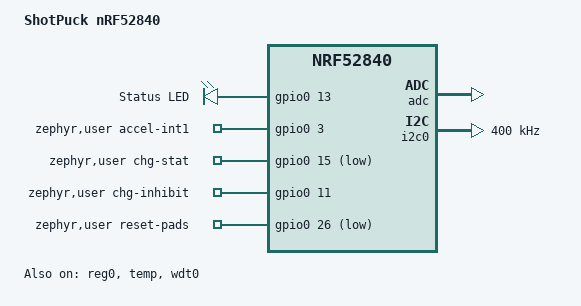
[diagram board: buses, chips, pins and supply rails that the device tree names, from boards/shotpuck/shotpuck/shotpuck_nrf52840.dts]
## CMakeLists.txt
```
# ShotPuck firmware - Zephyr 4.1 (also builds in nRF Connect SDK v3.0+)
cmake_minimum_required(VERSION 3.20.0)
list(APPEND BOARD_ROOT ${CMAKE_CURRENT_SOURCE_DIR})
find_package(Zephyr REQUIRED HINTS $ENV{ZEPHYR_BASE})
project(shotpuck)

target_sources(app PRIVATE
  src/main.c
  src/shot_detect.c
  src/accel.c
  src/capture.c
  src/capture_tx.c
  src/capaim.c
  src/capcodec.c
  src/capdec.c
  src/capflash.c
  src/capjoin.c
  src/capstore.c
  src/capstore_layout.c
  src/capstore_scan.c
  src/capwriter.c
  src/charge.c
  src/chg_led.c
  src/crc32.c
  src/devrec.c
  src/devstream.c
  src/evlog.c
  src/factory.c
  src/event_tx.c
  src/evq.c
  src/claim.c
  src/diag.c
  src/identity.c
  src/led.c
  src/led_seq.c
  src/lifecount.c
  src/lifetime.c
  src/ota.c
  src/power.c
  src/recovery.c
  src/store.c
  src/supply.c
  src/ble.c
  src/wakestat.c
  src/wire.c
  src/zerorate.c
)

zephyr_linker_sources(SECTIONS ram_limit.ld)
```

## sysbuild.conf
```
SB_CONFIG_BOOTLOADER_MCUBOOT=y
SB_CONFIG_MCUBOOT_MODE_SWAP_USING_MOVE=y
SB_CONFIG_BOOT_SIGNATURE_TYPE_ECDSA_P256=y
```

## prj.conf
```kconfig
# ---- core
CONFIG_FPU=y
CONFIG_MAIN_STACK_SIZE=3072
CONFIG_SYSTEM_WORKQUEUE_STACK_SIZE=2048
CONFIG_GPIO=y
CONFIG_I2C=y
CONFIG_ADC=y
CONFIG_SENSOR=y
CONFIG_POWEROFF=y
CONFIG_LTO=y
CONFIG_ISR_TABLES_LOCAL_DECLARATION=y
CONFIG_CBPRINTF_FP_SUPPORT=n
CONFIG_PICOLIBC_IO_LONG_LONG=y

# ---- storage (lifetime count, thresholds)
CONFIG_FLASH=y
CONFIG_FLASH_MAP=y
CONFIG_NVS=y
CONFIG_SETTINGS=y
CONFIG_SETTINGS_NVS=y
CONFIG_NVS_LOOKUP_CACHE=y
CONFIG_NVS_LOOKUP_CACHE_SIZE=512

# ---- fixed heap (only the AES and CMAC contexts, 316 bytes per operation), so the RAM above the image can be switched off
CONFIG_COMMON_LIBC_MALLOC_ARENA_SIZE=4096

# ---- code nothing uses: time slicing, the HCI entropy device, AES-CBC
CONFIG_TIMESLICING=n
CONFIG_ENTROPY_BT_HCI=n
CONFIG_MBEDTLS_CIPHER_MODE_CBC_ENABLED=n

# ---- Bluetooth LE peripheral
CONFIG_BT=y
CONFIG_BT_PERIPHERAL=y
CONFIG_BT_DEVICE_NAME="ShotPuck"
CONFIG_BT_MAX_CONN=1
CONFIG_BT_BAS=y
CONFIG_BT_GATT_CLIENT=y
CONFIG_BT_L2CAP_TX_MTU=247
CONFIG_BT_BUF_ACL_RX_SIZE=251
CONFIG_BT_BUF_ACL_TX_SIZE=251
CONFIG_BT_ATT_TX_COUNT=8
CONFIG_BT_CTLR_DATA_LENGTH_MAX=251
CONFIG_BT_CTLR_TX_PWR_PLUS_8=y
CONFIG_BT_GAP_AUTO_UPDATE_CONN_PARAMS=y
CONFIG_BT_GAP_PERIPHERAL_PREF_PARAMS=n
CONFIG_BT_DEVICE_NAME_DYNAMIC=y
CONFIG_BT_CTLR_PRIVACY=n
CONFIG_BT_CTLR_FILTER_ACCEPT_LIST=n
CONFIG_BT_CTLR_LE_PING=n
CONFIG_BT_CTLR_PER_INIT_FEAT_XCHG=n
CONFIG_BT_CTLR_MIN_USED_CHAN=n
CONFIG_BT_CTLR_ADVANCED_FEATURES=y
CONFIG_BT_CTLR_ASSERT_OVERHEAD_START=n

# ---- pairing: LE Secure Connections, new bonds only while the charger is attached
CONFIG_BT_SMP=y
CONFIG_BT_SETTINGS=y
CONFIG_BT_SMP_APP_PAIRING_ACCEPT=y
CONFIG_BT_MAX_PAIRED=4
CONFIG_BT_KEYS_OVERWRITE_OLDEST=y
CONFIG_BT_SMP_ALLOW_UNAUTH_OVERWRITE=y

# ---- identity: Device Information Service with the chip's unique ID
CONFIG_HWINFO=y
CONFIG_INIT_STACKS=y
CONFIG_SETTINGS_RUNTIME=y
CONFIG_BT_DIS=y
CONFIG_BT_DIS_SETTINGS=y
CONFIG_BT_DIS_SERIAL_NUMBER=y
CONFIG_BT_DIS_MODEL_NUMBER_STR="ShotPuck"
CONFIG_BT_DIS_MANUF_NAME=n
CONFIG_BT_DIS_PNP=n
CONFIG_BT_DIS_FW_REV=y

# ---- OTA: MCUboot (sysbuild) + MCUmgr SMP over BLE, paired phones only
CONFIG_MCUMGR=y
CONFIG_ZCBOR=y
CONFIG_NET_BUF=y
CONFIG_STREAM_FLASH=y
CONFIG_IMG_MANAGER=y
CONFIG_IMG_ERASE_PROGRESSIVELY=y
CONFIG_MCUMGR_GRP_IMG=y
CONFIG_MCUMGR_GRP_OS=y
CONFIG_MCUMGR_GRP_OS_ECHO=n
CONFIG_MCUMGR_GRP_OS_MCUMGR_PARAMS=y
CONFIG_MCUMGR_MGMT_NOTIFICATION_HOOKS=y
CONFIG_MCUMGR_GRP_IMG_UPLOAD_CHECK_HOOK=y
CONFIG_MCUMGR_TRANSPORT_BT=y
CONFIG_MCUMGR_TRANSPORT_BT_PERM_RW_ENCRYPT=y
CONFIG_MCUMGR_TRANSPORT_BT_REASSEMBLY=y

# ---- watchdog: a hung image resets, and MCUboot reverts an unconfirmed one
CONFIG_WATCHDOG=y

# ---- low power release build: no UART, no logging
CONFIG_SERIAL=n
CONFIG_CONSOLE=n
CONFIG_UART_CONSOLE=n
CONFIG_LOG=n
CONFIG_PRINTK=n
CONFIG_BOOT_BANNER=n
```

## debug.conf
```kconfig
# Debug overlay: west build ... -- -DEXTRA_CONF_FILE=debug.conf
# Logs over SEGGER RTT via the SWD (Tag-Connect) header.
# Upstream Zephyr: `west config manifest.project-filter -- +segger` and
# `west update` first. nRF Connect SDK includes it already.
CONFIG_LOG=y
CONFIG_USE_SEGGER_RTT=y
CONFIG_LOG_BACKEND_RTT=y
CONFIG_LOG_BACKEND_UART=n
```

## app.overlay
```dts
&reg1 {
	regulator-initial-mode = <NRF5X_REG_MODE_DCDC>;
};

&gpio1 {
	status = "disabled";
};

&boot_partition {
	reg = <0x00000000 0x0000A000>;
};

&flash0 {
	partitions {
		lifetime_partition: partition@a000 {
			label = "lifetime";
			reg = <0x0000A000 0x00002000>;
		};
	};
};
```

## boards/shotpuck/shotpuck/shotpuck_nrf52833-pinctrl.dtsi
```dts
/* ShotPuck pin control. Pins chosen from the MDBT50Q bottom pad row. */
&pinctrl {
	i2c0_default: i2c0_default {
		group1 {
			psels = <NRF_PSEL(TWIM_SCL, 0, 4)>,
				<NRF_PSEL(TWIM_SDA, 0, 6)>;
			bias-pull-up;   /* internal pull-ups; external 4.7k DNP pads on PCB */
		};
	};
	i2c0_sleep: i2c0_sleep {
		group1 {
			psels = <NRF_PSEL(TWIM_SCL, 0, 4)>,
				<NRF_PSEL(TWIM_SDA, 0, 6)>;
			low-power-enable;
		};
	};
};
```

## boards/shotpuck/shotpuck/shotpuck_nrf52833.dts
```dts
/*
 * ShotPuck - nRF52833 (Raytac MDBT50Q-512K), VDDH = Li-ion cell.
 *
 * Pin map (MDBT50Q pad -> signal):
 *   P0.04 (20) I2C SCL      -> LSM6DSO32 SCL
 *   P0.06 (22) I2C SDA      -> LSM6DSO32 SDA
 *   P0.08 (24) ACCEL_INT1   <- LSM6DSO32 INT1
 *   P1.09 (26) CHG_STAT     <- MCP73831 STAT via BAT54 (low = charging)
 *   P0.27 (16) CHG_INHIBIT  -> Q2 gate (high = charging disabled)
 *   P0.13 (37) LED          -> LED anode via 1k (active high)
 *   VBUS  (32)              <- charger input after reverse-polarity diode
 */
/dts-v1/;
#include <nordic/nrf52833_qiaa.dtsi>
#include "shotpuck_nrf52833-pinctrl.dtsi"

/ {
	model = "ShotPuck nRF52833";
	compatible = "shotpuck,shotpuck-nrf52833";

	chosen {
		zephyr,sram = &sram0;
		zephyr,flash = &flash0;
		zephyr,code-partition = &slot0_partition;
		zephyr,settings-partition = &storage_partition;
	};

	leds {
		compatible = "gpio-leds";
		led0: led_0 {
			gpios = <&gpio0 13 GPIO_ACTIVE_HIGH>;
			label = "Status LED";
		};
	};

	zephyr,user {
		accel-int1-gpios = <&gpio0 8 GPIO_ACTIVE_HIGH>;
		chg-stat-gpios = <&gpio1 9 GPIO_ACTIVE_LOW>;
		chg-inhibit-gpios = <&gpio0 27 GPIO_ACTIVE_HIGH>;
	};

	aliases {
		led0 = &led0;
		watchdog0 = &wdt0;
	};
};

/* No DC/DC inductors assumed: REG0 and REG1 in LDO mode (works on every
 * module variant; see README "decisions" to enable DC/DC). */
&reg0 {
	status = "okay";
};

&reg1 {
	regulator-initial-mode = <NRF5X_REG_MODE_LDO>;
};

&adc {
	status = "okay";
};

&temp {
	status = "okay";
};

&gpiote {
	status = "okay";
};

&gpio0 {
	status = "okay";
};

&gpio1 {
	status = "okay";
};

&i2c0 {
	compatible = "nordic,nrf-twim";
	status = "okay";
	clock-frequency = <I2C_BITRATE_FAST>;
	pinctrl-0 = <&i2c0_default>;
	pinctrl-1 = <&i2c0_sleep>;
	pinctrl-names = "default", "sleep";
};

&flash0 {
	partitions {
		compatible = "fixed-partitions";
		#address-cells = <1>;
		#size-cells = <1>;

		boot_partition: partition@0 {
			label = "mcuboot";
			reg = <0x00000000 0xC000>;
		};
		slot0_partition: partition@c000 {
			label = "image-0";
			reg = <0x0000C000 0x37000>;
		};
		slot1_partition: partition@43000 {
			label = "image-1";
			reg = <0x00043000 0x2F000>;
		};
		eventlog_partition: partition@72000 {
			label = "eventlog";
			reg = <0x00072000 0x00008000>;
		};
		storage_partition: partition@7a000 {
			label = "storage";
			reg = <0x0007A000 0x00006000>;
		};
	};
};
```

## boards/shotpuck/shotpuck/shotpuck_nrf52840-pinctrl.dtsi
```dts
/* ShotPuck pin control. I2C on the BMD-340's left pad column, next to the IMU. */
&pinctrl {
	i2c0_default: i2c0_default {
		group1 {
			psels = <NRF_PSEL(TWIM_SCL, 0, 7)>,
				<NRF_PSEL(TWIM_SDA, 0, 5)>;
			bias-pull-up;   /* internal pull-ups */
		};
	};
	i2c0_sleep: i2c0_sleep {
		group1 {
			psels = <NRF_PSEL(TWIM_SCL, 0, 7)>,
				<NRF_PSEL(TWIM_SDA, 0, 5)>;
			low-power-enable;
		};
	};
};
```

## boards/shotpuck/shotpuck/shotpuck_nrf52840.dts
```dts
/*
 * ShotPuck - nRF52840 (u-blox BMD-340), VCCH = Li-ion cell.
 *
 * Pin map (BMD-340 pad -> signal):
 *   P0.05 (21) I2C SDA      -> LSM6DSV32X SDA
 *   P0.07 (23) I2C SCL      -> LSM6DSV32X SCL
 *   P0.03 (19) ACCEL_INT1   <- LSM6DSV32X INT1
 *   P0.15 (33) CHG_STAT     <- MCP73831 STAT via BAT54J (low = charging)
 *   P0.11 (27) CHG_INHIBIT  -> Q1B gate (high = charging disabled)
 *   P0.13 (31) LED          -> LED anode via 1k (active high)
 *   VBUS  (66)              <- charger input after reverse-polarity diode, 1k/100n filter
 */
/dts-v1/;
#include <nordic/nrf52840_qiaa.dtsi>
#include "shotpuck_nrf52840-pinctrl.dtsi"

/ {
	model = "ShotPuck nRF52840";
	compatible = "shotpuck,shotpuck-nrf52840";

	chosen {
		zephyr,sram = &sram0;
		zephyr,flash = &flash0;
		zephyr,code-partition = &slot0_partition;
		zephyr,settings-partition = &storage_partition;
	};

	leds {
		compatible = "gpio-leds";
		led0: led_0 {
			gpios = <&gpio0 13 GPIO_ACTIVE_HIGH>;
			label = "Status LED";
		};
	};

	zephyr,user {
		accel-int1-gpios = <&gpio0 3 GPIO_ACTIVE_HIGH>;
		chg-stat-gpios = <&gpio0 15 GPIO_ACTIVE_LOW>;
		chg-inhibit-gpios = <&gpio0 11 GPIO_ACTIVE_HIGH>;
		reset-pads-gpios = <&gpio0 26 (GPIO_PULL_UP | GPIO_ACTIVE_LOW)>;
	};

	aliases {
		led0 = &led0;
		watchdog0 = &wdt0;
	};
};

/* No DC/DC inductors assumed: REG0 and REG1 in LDO mode (works on every
 * module variant; see README "decisions" to enable DC/DC). */
&reg0 {
	status = "okay";
};

&reg1 {
	regulator-initial-mode = <NRF5X_REG_MODE_LDO>;
};

&adc {
	status = "okay";
};

&temp {
	status = "okay";
};

&wdt0 {
	status = "okay";
};

&gpiote {
	status = "okay";
};

&gpio0 {
	status = "okay";
};

&gpio1 {
	status = "okay";
};

&i2c0 {
	compatible = "nordic,nrf-twim";
	status = "okay";
	clock-frequency = <I2C_BITRATE_FAST>;
	pinctrl-0 = <&i2c0_default>;
	pinctrl-1 = <&i2c0_sleep>;
	pinctrl-names = "default", "sleep";
};

&flash0 {
	partitions {
		compatible = "fixed-partitions";
		#address-cells = <1>;
		#size-cells = <1>;

		boot_partition: partition@0 {
			label = "mcuboot";
			reg = <0x00000000 0x0000C000>;
		};
		slot0_partition: partition@c000 {
			label = "image-0";
			reg = <0x0000C000 0x00040000>;
		};
		slot1_partition: partition@4c000 {
			label = "image-1";
			reg = <0x0004C000 0x00040000>;
		};
		capture_partition: partition@8c000 {
			label = "captures";
			reg = <0x0008C000 0x00066000>;
		};
		eventlog_partition: partition@f2000 {
			label = "eventlog";
			reg = <0x000F2000 0x00008000>;
		};
		storage_partition: partition@fa000 {
			label = "storage";
			reg = <0x000FA000 0x00006000>;
		};
	};
};
```

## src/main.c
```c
/*
 * main.c - ShotPuck application.
 *
 * Event loop on one thread; all I2C and flash work happens here. ISRs and
 * BT callbacks only set flags / queue messages and give wake_sem.
 *
 *   IDLE   : LSM6DSV32X accelerometer at 15 Hz with wake interrupt, gyro
 *            off, CPU asleep. Advertising stops ADV_LINGER_MS after IDLE,
 *            or on unplugging USB if that comes later.
 *   ACTIVE : 480 Hz accel + gyro FIFO -> shot_detect.c and the capture
 *            ring; advertising / connected. Back to IDLE after
 *            cfg.idle_timeout_ms of stillness.
 */
#include <app_version.h>
#include <string.h>
#include <zephyr/kernel.h>
#include <zephyr/logging/log.h>
#include <zephyr/sys/atomic.h>
#include <zephyr/sys/byteorder.h>

#include "accel.h"
#include "ble.h"
#include "capflash.h"
#include "capture.h"
#include "capture_tx.h"
#include "capwriter.h"
#include "chg_led.h"
#include "claim.h"
#include "devrec.h"
#include "devstream.h"
#include "diag.h"
#include "event_tx.h"
#include "factory.h"
#include "led.h"
#include "lifetime.h"
#include "ota.h"
#include "power.h"
#include "protocol.h"
#include "recovery.h"
#include "shot_detect.h"
#include "store.h"
#include "supply.h"
#include "wakestat.h"
#include "wire.h"
#include "zerorate.h"

LOG_MODULE_REGISTER(main, LOG_LEVEL_INF);

#define FW_MAJOR APP_VERSION_MAJOR
#define FW_MINOR APP_VERSION_MINOR
#define ADV_LINGER_MS 120000
#define HOUSEKEEP_ACTIVE_MS 10000
#define HOUSEKEEP_IDLE_MS 60000
#define FIFO_BATCH_SAMPLES 32
#define FIFO_WATERMARK_SAMPLES 26
#define FIFO_DRAIN_ROUNDS 4
#define CTRL_SEQ_MSG_LEN 5
#define CTRL_TIME_MSG_LEN 9
#define TX_POLL_MS 20
#define ACTIVE_POLL_MS 1000
#define IDLE_POLL_MS 2000
#define CLAIM_POLL_MS 250
#define CHARGER_POLL_MS 500
#define PAD_POLL_MS 250
#define CLAIM_BLINK_PERIOD_MS 1000
#define SENSOR_RETRY_MS 5000
#define SENSOR_STALL_MS 5000
#define NO_SENSOR_POLL_MS 1000
#define SLOW_IDLE_AFTER_MS (20u * 60u * 1000u)
#define MG_PER_G 1000u

static K_SEM_DEFINE(wake_sem, 0, 1);
static atomic_t accel_pending;
static atomic_t conn_event;

struct ctrl_msg {
	uint8_t len;
	uint8_t data[16];
};
K_MSGQ_DEFINE(ctrl_q, sizeof(struct ctrl_msg), 4, 4);
K_MSGQ_DEFINE(cfg_q, sizeof(sp_config_t), 1, 4);

static store_t st;
static cap_t cap;
static capstore_t capstore;
static capw_t capw;
static bool captures_ok;
static sd_state_t det;
static devrec_t rec;
static devstream_t live_stream;
static uint32_t reject_capture_min_mg;

static wire_clock_t wall_clock;

static uint32_t active_start_ms;
static uint32_t sample_idx;
static uint32_t idle_since_ms;
static bool idle_slow;
static wakestat_t wakes;
static zr_t zero_rate;
static uint32_t last_batch_ms;

/* ---------------------------------------------------------------- utils */

static void resume_seq(void)
{
	st.seq = seq_resume(st.seq, event_tx_newest_seq());
	store_save_counts(&st);
}

static void publish_count(void)
{
	sp_count_t c = {.total = st.total, .last_seq = st.seq, .lifetime = lifetime_count()};
	ble_update_count(&c);
}

static void publish_status(void)
{
	const power_state_t *p = power_state();
	sp_status_t s = {
		.battery_pct = p->battery_pct,
		.battery_mv = p->battery_mv,
		.temp_c = p->temp_c,
		.flags = (p->vbus ? SP_ST_VBUS : 0) | (p->charging ? SP_ST_CHARGING : 0) |
			 (p->chg_inhibit ? SP_ST_CHG_INHIBIT : 0) |
			 (det.mode == SD_MODE_ACTIVE ? SP_ST_ACTIVE : 0) |
			 (wall_clock.set ? SP_ST_TIME_SET : 0) | (supply_reg0_ldo() ? SP_ST_REG0_LDO : 0) |
			 (reject_capture_min_mg > 0u ? SP_ST_REJECT_CAPTURE : 0),
		.fw_major = FW_MAJOR,
		.fw_minor = FW_MINOR,
	};
	ble_update_status(&s);
	diag_publish(&st, &wakes);
}

/* ---------------------------------------------------------- callbacks */

static void accel_isr(void)
{
	atomic_set(&accel_pending, 1);
	k_sem_give(&wake_sem);
}

static int remote_reset_refusal(const uint8_t *data, uint16_t len)
{
	remote_reset_req_t r = {.data = data, .len = len, .vbus = power_vbus_present()};
	remote_reset_verdict_t verdict = remote_reset_check(&r);

	if (verdict == REMOTE_RESET_BAD_CODE) {
		return -EINVAL;
	}
	return verdict == REMOTE_RESET_NO_CHARGER ? -EPERM : 0;
}

static int on_ctrl(const uint8_t *data, uint16_t len)
{
	if (!devcmd_valid(&(devcmd_req_t){data, len})) {
		return -EINVAL;
	}
	if (data[0] == SP_CTRL_STREAM && data[1] > 0u && ble_stream_room() == 0u) {
		return -EPERM;
	}
	if (data[0] == SP_CTRL_FACTORY_RESET) {
		int refused = remote_reset_refusal(data, len);
		if (refused) {
			return refused;
		}
	}
	struct ctrl_msg m = {.len = (uint8_t)MIN(len, sizeof(m.data))};
	memcpy(m.data, data, m.len);
	int err = k_msgq_put(&ctrl_q, &m, K_NO_WAIT);

	if (err == 0) {
		k_sem_give(&wake_sem);
	}
	return err;
}

static int on_cfg(const sp_config_t *c)
{
	k_msgq_purge(&cfg_q);
	int err = k_msgq_put(&cfg_q, c, K_NO_WAIT);

	k_sem_give(&wake_sem);
	return err;
}

static void on_tx_done(void)
{
	k_sem_give(&wake_sem);
}

static void on_conn(bool connected)
{
	ARG_UNUSED(connected);
	atomic_set(&conn_event, 1);
	k_sem_give(&wake_sem);
}

/* -------------------------------------------------------------- modes */

static void begin_stream(uint32_t now)
{
	active_start_ms = now;
	sample_idx = 0;
	cap_reset(&cap);
	zr_restart(&zero_rate);
	sd_start_active(&det, now);
}

static void go_active(void)
{
	(void)supply_history_ram_on();
	accel_set_active();
	begin_stream(k_uptime_get_32());
	last_batch_ms = active_start_ms;
	ble_adv_start();
	LOG_INF("ACTIVE");
}

static void go_idle(void)
{
	accel_set_idle((uint16_t)st.cfg.wake_mg, ACCEL_IDLE_FAST);
	idle_slow = false;
	wakestat_sleep(&wakes);
	det.mode = SD_MODE_IDLE;
	if (!capw_busy(&capw)) {
		supply_history_ram_off();
	}
	idle_since_ms = k_uptime_get_32();
	store_save_counts(&st);
	LOG_INF("IDLE");
}

/* ------------------------------------------------------------- events */

static void request_capture(const sd_event_t *e, uint32_t seq)
{
	capw_request_t req = {
		.seq = seq,
		.trigger = cap_ms_to_index(e->t_ms - active_start_ms),
		.epoch = cap.epoch,
		.mode = st.capture_mode,
		.gyro_offset = zr_offset_at(&zero_rate, e->t_ms),
	};

	if (captures_ok) {
		capw_request(&capw, &req);
	}
}

static void capture_reject(const sd_event_t *e, uint32_t seq)
{
	if (reject_capture_min_mg > 0u && e->peak_hf_mg >= reject_capture_min_mg) {
		request_capture(e, seq);
	}
}

static void handle_detection(const sd_event_t *e, int64_t uptime_ms)
{
	sp_event_t w = {
		.seq = ++st.seq,
		.t_unix_ms = wire_clock_unix_ms(&wall_clock, uptime_ms),
		.t_uptime_ms = (uint32_t)uptime_ms,
		.peak_hf_mg = e->peak_hf_mg,
		.pre_still_ms = e->pre_still_ms,
		.post_lf_mg = e->post_lf_mg,
		.accepted = e->accepted,
		.reason = e->reason,
	};
	event_tx_record(&w);
	if (e->accepted) {
		st.total++;
		store_save_counts(&st);
		lifetime_shot();
		request_capture(e, w.seq);
		wakestat_shot(&wakes);
		led_play(LED_SHOT);
		LOG_INF("SHOT #%u pk=%u still=%u lf=%u ring=%u", st.total, e->peak_hf_mg,
			e->pre_still_ms, e->post_lf_mg, e->ring_mg);
	} else {
		capture_reject(e, w.seq);
		LOG_INF("reject r=%u pk=%u still=%u lf=%u ring=%u", e->reason, e->peak_hf_mg,
			e->pre_still_ms, e->post_lf_mg, e->ring_mg);
	}
	publish_count();
}

static uint32_t sample_ms(uint32_t index)
{
	return active_start_ms + cap_index_to_ms(index);
}

static void restart_stream(uint32_t now)
{
	LOG_WRN("FIFO overrun");
	begin_stream(now);
}

static void live_stream_sample(const sp_cap_sample_t *sample)
{
	if (!devstream_push(&live_stream, sample)) {
		return;
	}
	devstream_packet_t packet = devstream_take(&live_stream);

	if (!event_tx_busy() && !cap_tx_busy()) {
		(void)ble_send_stream(packet.data, packet.len);
	}
}

static void process_batch(const accel_fifo_t *fifo, uint32_t n)
{
	int64_t now = k_uptime_get();
	uint32_t t_last = sample_ms(sample_idx + n - 1u);

	for (uint32_t i = 0; i < n; i++) {
		int16_t mg[3];
		sd_event_t e;
		zr_input_t still = {&fifo->samples[i], sample_ms(sample_idx)};

		cap_push(&cap, &fifo->samples[i]);
		live_stream_sample(&fifo->samples[i]);
		zr_push(&zero_rate, &still);
		accel_to_mg(&fifo->samples[i], mg);
		if (sd_process(&det, mg, sample_ms(sample_idx++), &e)) {
			handle_detection(&e, now - (t_last - e.t_ms));
		}
	}
}

static void start_recording(uint8_t seconds)
{
	devrec_start(&rec, seconds);
	if (det.mode != SD_MODE_ACTIVE) {
		go_active();
	}
}

static void issue_recording(void)
{
	if (!devrec_due(&rec, sample_idx)) {
		return;
	}
	int64_t uptime_ms = k_uptime_get();
	sp_event_t w = {
		.seq = ++st.seq,
		.t_unix_ms = wire_clock_unix_ms(&wall_clock, uptime_ms),
		.t_uptime_ms = (uint32_t)uptime_ms,
		.reason = SP_EVENT_REASON_RECORDING,
	};
	devrec_at_t at = {w.seq, sample_idx, cap.epoch};
	capw_request_t req = devrec_take(&rec, &at);

	req.gyro_offset = zr_offset_at(&zero_rate, sample_ms(sample_idx));

	event_tx_record(&w);
	publish_count();
	if (captures_ok) {
		capw_request(&capw, &req);
	}
}

static void handle_accel(void)
{
	static sp_cap_sample_t buf[FIFO_BATCH_SAMPLES];
	accel_fifo_t fifo = {.samples = buf, .max = FIFO_BATCH_SAMPLES};

	if (accel_mode() == ACCEL_IDLE) {
		if (accel_clear_wake() > 0) {
			wakestat_wake(&wakes);
			go_active();
		} else {
			accel_irq_rearm();
		}
		return;
	}
	if (accel_mode() != ACCEL_ACTIVE) {
		return;
	}
	for (int round = 0; round < FIFO_DRAIN_ROUNDS; round++) {
		int n = accel_read_fifo(&fifo);
		if (n <= 0) {
			break;
		}
		if (fifo.overrun) {
			restart_stream(k_uptime_get_32());
		}
		process_batch(&fifo, (uint32_t)n);
		last_batch_ms = k_uptime_get_32();
		if (n < FIFO_WATERMARK_SAMPLES) {
			break;
		}
	}
	issue_recording();
	if (sd_active_should_sleep(&det, sample_ms(sample_idx)) && !devrec_running(&rec, &capw) &&
	    !devstream_on(&live_stream)) {
		go_idle();
	} else {
		accel_irq_rearm();
	}
}

static void reset_count(void)
{
	st.total = 0;
	st.count_reset_seq = st.seq;
	store_save_count_reset(&st);
	publish_count();
}

static void delete_shot(uint32_t seq)
{
	if (event_tx_delete(seq) != 1) {
		return;
	}
	LOG_INF("deleted shot seq %u", seq);
	lifetime_unshot(seq);
	if (seq > st.count_reset_seq && st.total > 0u) {
		st.total--;
		store_save_counts(&st);
	}
	publish_count();
}

static void start_live_stream(uint8_t divider)
{
	devstream_req_t req = {divider, devstream_fit(ble_stream_room()), k_uptime_get_32()};

	devstream_start(&live_stream, &req);
	if (devstream_on(&live_stream) && det.mode != SD_MODE_ACTIVE) {
		go_active();
	}
}

static void check_live_stream(void)
{
	if (ble_stream_room() == 0u || devstream_expired(&live_stream, k_uptime_get_32())) {
		devstream_stop(&live_stream);
	}
}

static void handle_dev_ctrl(const struct ctrl_msg *m)
{
	if (m->data[0] == SP_CTRL_REG0_MODE) {
		supply_reg0_set_ldo(m->data[1] == SP_REG0_LDO);
		publish_status();
	} else if (m->data[0] == SP_CTRL_RECORD) {
		start_recording(m->data[1]);
	} else if (m->data[0] == SP_CTRL_STREAM) {
		start_live_stream(m->data[1]);
	} else if (m->data[0] == SP_CTRL_REJECT_CAPTURE) {
		reject_capture_min_mg = m->data[1] * MG_PER_G;
		publish_status();
	}
}

static void handle_ctrl(void)
{
	struct ctrl_msg m;

	while (k_msgq_get(&ctrl_q, &m, K_NO_WAIT) == 0) {
		switch (m.data[0]) {
		case SP_CTRL_SET_TIME:
			if (m.len >= CTRL_TIME_MSG_LEN) {
				wire_time_t now = {
					.unix_ms = (int64_t)sys_get_le64(&m.data[1]),
					.uptime_ms = k_uptime_get(),
				};
				wire_clock_set(&wall_clock, &now);
				publish_status();
			}
			break;
		case SP_CTRL_RESET_COUNT:
			reset_count();
			break;
		case SP_CTRL_DELETE_SHOT:
			if (m.len >= CTRL_SEQ_MSG_LEN) {
				delete_shot(sys_get_le32(&m.data[1]));
			}
			break;
		case SP_CTRL_FACTORY_RESET:
			if (remote_reset_refusal(m.data, m.len) == 0) {
				factory_reset_remote();
			}
			break;
		case SP_CTRL_REPLAY:
			if (m.len >= CTRL_SEQ_MSG_LEN) {
				event_tx_replay(sys_get_le32(&m.data[1]));
			}
			break;
		case SP_CTRL_FACTORY_CFG: {
			sp_config_t w;
			sd_default_config(&st.cfg);
			det.cfg = st.cfg;
			store_save_cfg(&st);
			wire_config_out(&st, &w);
			ble_update_config(&w);
			break;
		}
		case SP_CTRL_GET_CAPTURE:
			if (m.len >= CTRL_SEQ_MSG_LEN) {
				cap_tx_queue(sys_get_le32(&m.data[1]));
			}
			break;
		case SP_CTRL_FORGET_BONDS:
			claim_forget_all();
			break;
		case SP_CTRL_LED_BLINK:
			led_play(LED_FIND);
			break;
		default:
			handle_dev_ctrl(&m);
			break;
		}
	}
}

static bool sensor_stuck(void)
{
	if (det.mode == SD_MODE_ACTIVE) {
		return k_uptime_get_32() - last_batch_ms >= SENSOR_STALL_MS;
	}
	return !accel_idle_ok();
}

static void check_sensor(void)
{
	if (!sensor_stuck()) {
		return;
	}
	LOG_WRN("IMU not responding: re-initialising");
	if (accel_init(accel_isr) != 0) {
		return;
	}
	if (det.mode == SD_MODE_ACTIVE) {
		go_active();
	} else {
		accel_set_idle((uint16_t)st.cfg.wake_mg, idle_slow ? ACCEL_IDLE_SLOW : ACCEL_IDLE_FAST);
	}
}

static void slow_down_idle(uint32_t now)
{
	if (det.mode != SD_MODE_IDLE || idle_slow || accel_mode() != ACCEL_IDLE ||
	    now - idle_since_ms < SLOW_IDLE_AFTER_MS) {
		return;
	}
	accel_set_idle((uint16_t)st.cfg.wake_mg, ACCEL_IDLE_SLOW);
	idle_slow = true;
	LOG_INF("IDLE at 1.875 Hz");
}

static void apply_config(void)
{
	sp_config_t c;

	if (k_msgq_get(&cfg_q, &c, K_NO_WAIT) != 0) {
		return;
	}
	wire_config_in(&c, &st);
	det.cfg = st.cfg;
	store_save_cfg(&st);
	LOG_INF("config updated");
}

static void guard_battery(void)
{
	power_update();
	if (power_should_cutoff()) {
		store_save_counts(&st);
		accel_off();
		ble_adv_stop();
		power_off_until_charger();
	}
}

static void housekeeping(void)
{
	guard_battery();
	check_sensor();
	publish_status();
}

static void check_boot_battery(void)
{
	for (uint32_t i = 0; i < RECOVERY_LOW_BATTERY_READINGS; i++) {
		power_update();
	}
	if (power_should_cutoff()) {
		accel_off();
		power_off_until_charger();
	}
}

static void wait_without_sensor(void)
{
	guard_battery();
	publish_status();
	for (uint32_t waited = 0; waited < SENSOR_RETRY_MS; waited += NO_SENSOR_POLL_MS) {
		if (ota_image_confirmed()) {
			ota_feed();
		}
		if (!ble_is_connected()) {
			ble_adv_start();
		}
		led_play(LED_NO_SENSOR);
		k_msleep(NO_SENSOR_POLL_MS);
	}
}

static void wait_for_sensor(void)
{
	while (accel_init(accel_isr) != 0) {
		wait_without_sensor();
	}
}

static void claim_feedback(void)
{
	static uint32_t last_blink_ms;
	uint32_t now = k_uptime_get_32();

	if (claim_take_paired()) {
		led_play(LED_PAIRED);
	}
	if (claim_is_open() && now - last_blink_ms >= CLAIM_BLINK_PERIOD_MS) {
		last_blink_ms = now;
		led_play(LED_CLAIM);
	}
}

static void charge_feedback(void)
{
	static uint32_t last_tick_ms;
	uint32_t now = k_uptime_get_32();

	if (!power_vbus_present() || claim_is_open()) {
		led_steady((led_steady_t){LED_STEADY_CHARGE_FULL, false});
		return;
	}
	if (now - last_tick_ms < CHG_LED_TICK_MS) {
		return;
	}
	last_tick_ms = now;
	chg_led_mode_t mode = chg_led_mode(power_update());
	led_steady((led_steady_t){LED_STEADY_CHARGE_FULL, mode == CHG_LED_FULL});
	led_play_pulses(chg_led_pulses(mode));
}

static void update_capture_area(void)
{
	bool want = ota_spare_allowed();

	if (want != capflash_spare_in_use() && !capw_busy(&capw)) {
		captures_ok = capflash_open(&capstore, want) == 0;
	}
}

static uint32_t poll_period(bool active)
{
	if (event_tx_busy() || cap_tx_busy() || capw_busy(&capw)) {
		return TX_POLL_MS;
	}
	if (factory_pads_held()) {
		return PAD_POLL_MS;
	}
	if (claim_is_open()) {
		return CLAIM_POLL_MS;
	}
	if (power_vbus_present()) {
		return CHARGER_POLL_MS;
	}
	return active ? ACTIVE_POLL_MS : IDLE_POLL_MS;
}

/* --------------------------------------------------------------- main */

int main(void)
{
	sp_config_t w;

	power_regout0_3v0(); /* may reset once on first boot */
	diag_boot();
	factory_boot_guard();
	if (ota_init()) {
		LOG_ERR("watchdog unavailable");
	}

	led_init();
	if (factory_pads_init()) {
		LOG_ERR("reset pads unavailable");
	}
	if (power_init() == 0) {
		check_boot_battery();
	}

	sd_default_config(&st.cfg);
	store_init(&st);
	diag_count_crash(&st);
	if (!wire_config_normalize(&st)) {
		LOG_WRN("stored config invalid: using defaults");
		sd_default_config(&st.cfg);
		st.capture_mode = SP_CAPTURE_STANDARD;
	}
	if (event_tx_init(&wall_clock)) {
		LOG_ERR("shot log unavailable");
	}
	resume_seq();
	lifetime_init(st.seq);
	st.cfg.fs_hz = (float)CAP_ODR_HZ;
	sd_init(&det, &st.cfg);
	cap_init(&cap, supply_history_ram_on());
	captures_ok = capflash_open(&capstore, ota_spare_allowed()) == 0;
	if (!captures_ok) {
		LOG_ERR("capture store unavailable");
	}
	capw_init(&capw, &(capw_deps_t){&cap, &capstore});
	cap_tx_init(&capstore, &capw);
	ble_set_tx_done_cb(on_tx_done);

	wire_config_out(&st, &w);
	ble_update_config(&w);
	if (ble_init(on_ctrl, on_cfg, on_conn) || claim_init()) {
		LOG_ERR("BLE init failed");
	}
	publish_count();
	publish_status();

	wait_for_sensor();
	led_play(LED_BOOT);
	go_active(); /* start awake so a phone can connect right after boot */

	uint32_t last_hk = k_uptime_get_32();

	for (;;) {
		bool active = det.mode == SD_MODE_ACTIVE;
		uint32_t hk_period = active ? HOUSEKEEP_ACTIVE_MS : HOUSEKEEP_IDLE_MS;

		supply_clear_fpu_flags();
		k_sem_take(&wake_sem, K_MSEC(poll_period(active)));
		ota_feed();
		ota_confirm_when_healthy(ble_link_secured());

		if (atomic_cas(&accel_pending, 1, 0)) {
			handle_accel();
		}
		handle_ctrl();
		claim_poll(power_vbus_present());
		ble_adv_set_pairing(claim_is_open());
		claim_feedback();
		factory_poll();
		if (!factory_pads_held()) {
			charge_feedback();
		}
		if (event_tx_busy()) {
			event_tx_pump();
		}
		if (capw_busy(&capw) && capw_pump(&capw) == CAPW_COMMITTED) {
			cap_tx_queue(capw.committed_seq);
		}
		update_capture_area();
		check_live_stream();
		led_fast_blink(devstream_on(&live_stream));
		cap_tx_hold(devstream_on(&live_stream));
		if (cap_tx_busy()) {
			cap_tx_pump();
		}
		ble_set_bulk(event_tx_busy() || cap_tx_busy() || ota_upload_active() ||
			     devstream_on(&live_stream) || power_vbus_present());
		apply_config();

		uint32_t now = k_uptime_get_32();
		slow_down_idle(now);
		bool want_adv = det.mode == SD_MODE_ACTIVE || (now - idle_since_ms) < ADV_LINGER_MS ||
				claim_is_open() || power_vbus_present();
		if (atomic_cas(&conn_event, 1, 0) || !ble_is_advertising()) {
			if (!ble_is_connected() && want_adv) {
				ble_adv_start();
			}
		}
		if (!want_adv && ble_is_advertising()) {
			ble_adv_stop();
		}
		if (now - last_hk >= hk_period) {
			last_hk = now;
			housekeeping();
		}
	}
	return 0;
}
```

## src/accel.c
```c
#include "accel.h"

#include <string.h>
#include <zephyr/drivers/gpio.h>
#include <zephyr/drivers/i2c.h>
#include <zephyr/kernel.h>
#include <zephyr/logging/log.h>
#include <zephyr/sys/byteorder.h>

#include "accel_regs.h"
#include "capture.h"
#include "shot_detect.h"

LOG_MODULE_REGISTER(accel, LOG_LEVEL_INF);

#define FIFO_BURST_WORDS 32
#define FIFO_TAG_SHIFT 3
#define FIFO_TAG_GYRO 0x01
#define FIFO_TAG_ACC 0x02
#define AXES 3
#define AXIS_BYTES 2
#define RESET_WAIT_MS 5
#define IDLE_SETTLE_MS 200
#define SLOW_IDLE_SETTLE_MS 1600
#define UG_PER_MG 1000

static const struct device *const i2c = DEVICE_DT_GET(DT_NODELABEL(i2c0));
static const struct gpio_dt_spec int1 =
	GPIO_DT_SPEC_GET(DT_PATH(zephyr_user), accel_int1_gpios);
static struct gpio_callback int1_cb;
static accel_irq_handler_t user_handler;
static accel_mode_t cur_mode = ACCEL_OFF;
static uint8_t idle_ctrl1 = OP_MODE_XL_LOW_POWER_2_AVG | ODR_15HZ;
static int16_t last_gyro[AXES];

static int wr(uint8_t reg, uint8_t val)
{
	return i2c_reg_write_byte(i2c, I2C_ADDR, reg, val);
}

static int rd(uint8_t reg, uint8_t *val)
{
	return i2c_reg_read_byte(i2c, I2C_ADDR, reg, val);
}

static void int1_isr(const struct device *dev, struct gpio_callback *cb, uint32_t pins)
{
	ARG_UNUSED(dev);
	ARG_UNUSED(cb);
	ARG_UNUSED(pins);
	gpio_pin_interrupt_configure_dt(&int1, GPIO_INT_DISABLE);
	if (user_handler) {
		user_handler();
	}
}

static int probe(void)
{
	uint8_t id = 0;
	int err = rd(REG_WHO_AM_I, &id);

	if (err || id != WHO_AM_I_VAL) {
		LOG_ERR("LSM6DSV32X not found (err %d id 0x%02x)", err, id);
		return -ENODEV;
	}
	return 0;
}

static int configure(void)
{
	int err = wr(REG_CTRL3, CTRL3_SW_RESET);

	k_msleep(RESET_WAIT_MS);
	err = err ? err : wr(REG_CTRL3, CTRL3_BDU | CTRL3_IF_INC);
	err = err ? err : wr(REG_IF_CFG, IF_CFG_ANTISPIKE_ALWAYS_ON);
	err = err ? err : wr(REG_CTRL8, CTRL8_HP_BW_ODR_DIV_45 | CTRL8_RESERVED_SET | FS_XL_32G);
	err = err ? err : wr(REG_CTRL9, CTRL9_XL_FASTSETTL_MODE);
	return err ? err : wr(REG_CTRL6, FS_G_2000DPS);
}

int accel_init(accel_irq_handler_t handler)
{
	if (!device_is_ready(i2c) || !gpio_is_ready_dt(&int1)) {
		return -ENODEV;
	}
	if (probe() != 0) {
		(void)i2c_recover_bus(i2c);
		if (probe() != 0) {
			return -ENODEV;
		}
	}
	int err = configure();
	if (err) {
		return err;
	}

	user_handler = handler;
	gpio_pin_configure_dt(&int1, GPIO_INPUT);
	gpio_init_callback(&int1_cb, int1_isr, BIT(int1.pin));
	gpio_add_callback(int1.port, &int1_cb);
	gpio_pin_interrupt_configure_dt(&int1, GPIO_INT_LEVEL_ACTIVE);
	return 0;
}

static void irq_pause(void)
{
	gpio_pin_interrupt_configure_dt(&int1, GPIO_INT_DISABLE);
}

void accel_irq_rearm(void)
{
	gpio_pin_interrupt_configure_dt(&int1, GPIO_INT_LEVEL_ACTIVE);
}

int accel_set_idle(uint16_t wake_mg, accel_idle_rate_t rate)
{
	uint8_t dummy;
	bool slow = rate == ACCEL_IDLE_SLOW;

	idle_ctrl1 = OP_MODE_XL_LOW_POWER_2_AVG | (slow ? ODR_1_875HZ : ODR_15HZ);
	irq_pause();
	wr(REG_MD1_CFG, REG_OFF);
	wr(REG_INT1_CTRL, REG_OFF);
	wr(REG_FIFO_CTRL4, FIFO_MODE_BYPASS);
	wr(REG_CTRL2, REG_OFF);
	wr(REG_CTRL1, REG_OFF);
	wr(REG_CTRL1, idle_ctrl1);
	wr(REG_TAP_CFG0, TAP_CFG0_LATCHED | TAP_CFG0_WAKE_HPF);
	wr(REG_FUNCTIONS_ENABLE, FUNCTIONS_INTERRUPTS_ENABLE);
	wr(REG_INACTIVITY_DUR, WAKE_THS_WEIGHT_31MG | INACT_ODR_DEFAULT);
	wr(REG_WAKE_UP_THS, sd_wake_ths_lsb((float)wake_mg));
	k_msleep(slow ? SLOW_IDLE_SETTLE_MS : IDLE_SETTLE_MS);
	rd(REG_WAKE_UP_SRC, &dummy);
	wr(REG_MD1_CFG, MD1_INT1_WU);
	cur_mode = ACCEL_IDLE;
	accel_irq_rearm();
	return 0;
}

int accel_set_active(void)
{
	uint8_t dummy;

	irq_pause();
	wr(REG_MD1_CFG, REG_OFF);
	rd(REG_WAKE_UP_SRC, &dummy);
	wr(REG_FUNCTIONS_ENABLE, REG_OFF);
	wr(REG_FIFO_CTRL4, FIFO_MODE_BYPASS);
	wr(REG_FIFO_CTRL1, FIFO_WTM_WORDS);
	wr(REG_FIFO_CTRL3, FIFO_BDR_XL_GY_480HZ);
	wr(REG_CTRL1, OP_MODE_HIGH_PERF | ODR_480HZ);
	wr(REG_CTRL2, OP_MODE_HIGH_PERF | ODR_480HZ);
	wr(REG_FIFO_CTRL4, FIFO_MODE_STREAM);
	wr(REG_INT1_CTRL, INT1_FIFO_TH);
	memset(last_gyro, 0, sizeof(last_gyro));
	cur_mode = ACCEL_ACTIVE;
	accel_irq_rearm();
	return 0;
}

int accel_off(void)
{
	irq_pause();
	wr(REG_MD1_CFG, REG_OFF);
	wr(REG_INT1_CTRL, REG_OFF);
	wr(REG_FIFO_CTRL4, FIFO_MODE_BYPASS);
	wr(REG_CTRL1, REG_OFF);
	wr(REG_CTRL2, REG_OFF);
	cur_mode = ACCEL_OFF;
	return 0;
}

accel_mode_t accel_mode(void)
{
	return cur_mode;
}

bool accel_idle_ok(void)
{
	uint8_t ctrl1 = 0;
	uint8_t md1 = 0;

	if (rd(REG_CTRL1, &ctrl1) || rd(REG_MD1_CFG, &md1)) {
		return false;
	}
	return ctrl1 == idle_ctrl1 && md1 == MD1_INT1_WU;
}

int accel_clear_wake(void)
{
	uint8_t src = 0;
	int err = rd(REG_WAKE_UP_SRC, &src);

	return err ? err : (src & WAKE_UP_SRC_WU_IA) ? 1 : 0;
}

static int fifo_level(int *overrun)
{
	uint8_t st[2];

	if (i2c_burst_read(i2c, I2C_ADDR, REG_FIFO_STATUS1, st, sizeof(st))) {
		return -EIO;
	}
	*overrun = (st[1] & FIFO_STATUS2_OVERRUN) ? 1 : 0;
	return st[0] | ((st[1] & FIFO_STATUS2_DIFF_HI) << BITS_PER_BYTE);
}

static uint8_t fifo_burst[FIFO_BURST_WORDS * FIFO_WORD_BYTES];

static void unpack_axes(const uint8_t *b, int16_t out[AXES])
{
	for (int i = 0; i < AXES; i++) {
		out[i] = (int16_t)sys_get_le16(&b[i * AXIS_BYTES]);
	}
}

static void store_acc(sp_cap_sample_t *s, const uint8_t *b)
{
	for (int i = 0; i < AXES; i++) {
		s->acc[i] = (int16_t)sys_get_le16(&b[i * AXIS_BYTES]);
		s->gyro[i] = last_gyro[i];
	}
}

static int take_word(const uint8_t *word, sp_cap_sample_t *slot)
{
	uint8_t tag = word[0] >> FIFO_TAG_SHIFT;

	if (tag == FIFO_TAG_GYRO) {
		unpack_axes(&word[1], last_gyro);
	} else if (tag == FIFO_TAG_ACC) {
		store_acc(slot, &word[1]);
		return 1;
	}
	return 0;
}

int accel_read_fifo(accel_fifo_t *fifo)
{
	int words = fifo_level(&fifo->overrun);
	int n = 0;

	if (words < 0) {
		return words;
	}
	while (words > 0 && n < fifo->max) {
		int count = MIN(MIN(words, fifo->max - n), FIFO_BURST_WORDS);

		if (i2c_burst_read(i2c, I2C_ADDR, REG_FIFO_DATA_OUT_TAG, fifo_burst,
				   (uint32_t)count * FIFO_WORD_BYTES)) {
			return -EIO;
		}
		for (int w = 0; w < count; w++) {
			n += take_word(&fifo_burst[w * FIFO_WORD_BYTES], &fifo->samples[n]);
		}
		words -= count;
	}
	return n;
}

void accel_to_mg(const sp_cap_sample_t *raw, int16_t mg[3])
{
	for (int i = 0; i < AXES; i++) {
		mg[i] = (int16_t)(((int32_t)raw->acc[i] * (int32_t)CAP_ACC_UG_PER_LSB) / UG_PER_MG);
	}
}
```

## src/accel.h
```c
#ifndef ACCEL_H
#define ACCEL_H

#include <stdbool.h>
#include <stdint.h>

#include "protocol.h"

typedef enum { ACCEL_OFF, ACCEL_IDLE, ACCEL_ACTIVE } accel_mode_t;
typedef enum { ACCEL_IDLE_FAST, ACCEL_IDLE_SLOW } accel_idle_rate_t;

typedef void (*accel_irq_handler_t)(void);

typedef struct {
	sp_cap_sample_t *samples;
	int max;
	int overrun;
} accel_fifo_t;

int accel_init(accel_irq_handler_t handler);
int accel_set_idle(uint16_t wake_mg, accel_idle_rate_t rate);
int accel_set_active(void);
int accel_off(void);
accel_mode_t accel_mode(void);
bool accel_idle_ok(void);
void accel_irq_rearm(void);
int accel_clear_wake(void);
int accel_read_fifo(accel_fifo_t *fifo);
void accel_to_mg(const sp_cap_sample_t *raw, int16_t mg[3]);

#endif
```

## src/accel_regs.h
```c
#ifndef ACCEL_REGS_H
#define ACCEL_REGS_H

#define I2C_ADDR 0x6A
#define WHO_AM_I_VAL 0x70

#define REG_IF_CFG 0x03
#define REG_FIFO_CTRL1 0x07
#define REG_FIFO_CTRL3 0x09
#define REG_FIFO_CTRL4 0x0A
#define REG_INT1_CTRL 0x0D
#define REG_WHO_AM_I 0x0F
#define REG_CTRL1 0x10
#define REG_CTRL2 0x11
#define REG_CTRL3 0x12
#define REG_CTRL6 0x15
#define REG_CTRL8 0x17
#define REG_CTRL9 0x18
#define REG_FIFO_STATUS1 0x1B
#define REG_WAKE_UP_SRC 0x45
#define REG_FUNCTIONS_ENABLE 0x50
#define REG_INACTIVITY_DUR 0x54
#define REG_TAP_CFG0 0x56
#define REG_WAKE_UP_THS 0x5B
#define REG_MD1_CFG 0x5E
#define REG_FIFO_DATA_OUT_TAG 0x78

#define REG_OFF 0x00
#define CTRL3_SW_RESET 0x01
#define CTRL3_IF_INC 0x04
#define CTRL3_BDU 0x40
#define IF_CFG_ANTISPIKE_ALWAYS_ON 0x20
#define OP_MODE_HIGH_PERF 0x00
#define OP_MODE_XL_LOW_POWER_2_AVG 0x40
#define ODR_1_875HZ 0x01
#define ODR_15HZ 0x03
#define ODR_480HZ 0x08
#define CTRL8_RESERVED_SET 0x04
#define CTRL8_HP_BW_ODR_DIV_45 0x60
#define CTRL9_XL_FASTSETTL_MODE 0x20
#define FS_XL_32G 0x03
#define FS_G_2000DPS 0x04
#define TAP_CFG0_LATCHED 0x01
#define TAP_CFG0_WAKE_HPF 0x10
#define FUNCTIONS_INTERRUPTS_ENABLE 0x80
#define INACT_ODR_DEFAULT 0x04
#define WAKE_THS_WEIGHT_31MG 0x20
#define MD1_INT1_WU 0x20
#define WAKE_UP_SRC_WU_IA 0x08
#define INT1_FIFO_TH 0x08
#define FIFO_MODE_BYPASS 0x00
#define FIFO_MODE_STREAM 0x06
#define FIFO_BDR_XL_GY_480HZ 0x88
#define FIFO_WTM_WORDS 52
#define FIFO_STATUS2_DIFF_HI 0x01
#define FIFO_STATUS2_OVERRUN 0x40
#define FIFO_WORD_BYTES 7

#endif
```

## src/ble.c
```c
/* ble.c - see ble.h */
#include "ble.h"

#include <string.h>

#include <zephyr/bluetooth/bluetooth.h>
#include <zephyr/bluetooth/byteorder.h>
#include <zephyr/bluetooth/conn.h>
#include <zephyr/bluetooth/gatt.h>
#include <zephyr/bluetooth/services/bas.h>
#include <zephyr/bluetooth/uuid.h>
#include <zephyr/kernel.h>
#include <zephyr/logging/log.h>
#include <zephyr/settings/settings.h>
#include <zephyr/sys/atomic.h>

#include "identity.h"
#include "wire.h"

LOG_MODULE_REGISTER(ble, LOG_LEVEL_INF);

#define ATT_NOTIFY_OVERHEAD 3u
#define NOTIFY_MAX_IN_FLIGHT 2
#define ENCRYPTED_CCC (BT_GATT_PERM_READ | BT_GATT_PERM_WRITE_ENCRYPT)
#define FAST_INTERVAL_MIN 12
#define FAST_INTERVAL_MAX 24
#define FAST_LATENCY 0
#define SLOW_INTERVAL_MIN 84
#define SLOW_INTERVAL_MAX 168
#define SLOW_LATENCY 4
#define LINK_TIMEOUT 800
#define BULK_LINGER_MS 5000u

enum link_speed { LINK_UNSET, LINK_SLOW, LINK_FAST };

static struct bt_uuid_128 uuid_svc = BT_UUID_INIT_128(SP_UUID_SERVICE);
static struct bt_uuid_128 uuid_count = BT_UUID_INIT_128(SP_UUID_COUNT);
static struct bt_uuid_128 uuid_event = BT_UUID_INIT_128(SP_UUID_EVENT);
static struct bt_uuid_128 uuid_ctrl = BT_UUID_INIT_128(SP_UUID_CONTROL);
static struct bt_uuid_128 uuid_cfg = BT_UUID_INIT_128(SP_UUID_CONFIG);
static struct bt_uuid_128 uuid_status = BT_UUID_INIT_128(SP_UUID_STATUS);
static struct bt_uuid_128 uuid_capture = BT_UUID_INIT_128(SP_UUID_CAPTURE);
static struct bt_uuid_128 uuid_diag = BT_UUID_INIT_128(SP_UUID_DIAG);
static struct bt_uuid_128 uuid_stream = BT_UUID_INIT_128(SP_UUID_STREAM);
static struct bt_uuid_128 uuid_caprec = BT_UUID_INIT_128(SP_UUID_CAPREC);

static sp_count_t v_count;
static sp_status_t v_status;
static sp_config_t v_cfg;
static sp_diag_t v_diag;

static ble_ctrl_cb_t on_ctrl;
static ble_cfg_cb_t on_cfg;
static ble_conn_cb_t on_conn;
static ble_tx_done_cb_t on_tx_done;
static atomic_t notify_in_flight;
static atomic_t link_secured;

static struct bt_conn *cur_conn;
static bool advertising;
static bool notify_count, notify_event, notify_status, notify_capture, notify_stream, notify_caprec;
static enum link_speed link_speed;
static uint32_t bulk_seen_ms;

static const struct bt_le_conn_param fast_param =
	BT_LE_CONN_PARAM_INIT(FAST_INTERVAL_MIN, FAST_INTERVAL_MAX, FAST_LATENCY, LINK_TIMEOUT);
static const struct bt_le_conn_param slow_param =
	BT_LE_CONN_PARAM_INIT(SLOW_INTERVAL_MIN, SLOW_INTERVAL_MAX, SLOW_LATENCY, LINK_TIMEOUT);

static ssize_t rd_blob(struct bt_conn *conn, const struct bt_gatt_attr *attr, void *buf,
		       uint16_t len, uint16_t offset)
{
	const void *v = attr->user_data;
	size_t sz = (v == &v_count) ? sizeof(v_count) :
		    (v == &v_status) ? sizeof(v_status) :
		    (v == &v_diag) ? sizeof(v_diag) : sizeof(v_cfg);
	return bt_gatt_attr_read(conn, attr, buf, len, offset, v, sz);
}

static ssize_t wr_ctrl(struct bt_conn *conn, const struct bt_gatt_attr *attr, const void *buf,
		       uint16_t len, uint16_t offset, uint8_t flags)
{
	ARG_UNUSED(conn);
	ARG_UNUSED(attr);
	ARG_UNUSED(flags);
	if (offset != 0 || len < 1 || len > 16) {
		return BT_GATT_ERR(BT_ATT_ERR_INVALID_ATTRIBUTE_LEN);
	}
	int err = on_ctrl(buf, len);

	if (err == -EINVAL) {
		return BT_GATT_ERR(BT_ATT_ERR_VALUE_NOT_ALLOWED);
	}
	if (err == -EPERM) {
		return BT_GATT_ERR(BT_ATT_ERR_WRITE_REQ_REJECTED);
	}
	if (err) {
		return BT_GATT_ERR(BT_ATT_ERR_INSUFFICIENT_RESOURCES);
	}
	return len;
}

static ssize_t wr_cfg(struct bt_conn *conn, const struct bt_gatt_attr *attr, const void *buf,
		      uint16_t len, uint16_t offset, uint8_t flags)
{
	ARG_UNUSED(conn);
	ARG_UNUSED(attr);
	ARG_UNUSED(flags);
	sp_config_t c = v_cfg;
	wire_bytes_t in = {.data = buf, .len = len};
	wire_cfg_result_t parsed = offset ? WIRE_CFG_BAD_LENGTH : wire_config_parse(&c, &in);

	if (parsed == WIRE_CFG_BAD_LENGTH) {
		return BT_GATT_ERR(BT_ATT_ERR_INVALID_ATTRIBUTE_LEN);
	}
	if (parsed != WIRE_CFG_OK || on_cfg(&c) != 0) {
		return BT_GATT_ERR(BT_ATT_ERR_VALUE_NOT_ALLOWED);
	}
	v_cfg = c;
	return len;
}

static void ccc_count(const struct bt_gatt_attr *a, uint16_t v)
{
	ARG_UNUSED(a);
	notify_count = v == BT_GATT_CCC_NOTIFY;
}
static void ccc_event(const struct bt_gatt_attr *a, uint16_t v)
{
	ARG_UNUSED(a);
	notify_event = v == BT_GATT_CCC_NOTIFY;
}
static void ccc_status(const struct bt_gatt_attr *a, uint16_t v)
{
	ARG_UNUSED(a);
	notify_status = v == BT_GATT_CCC_NOTIFY;
}
static void ccc_capture(const struct bt_gatt_attr *a, uint16_t v)
{
	ARG_UNUSED(a);
	notify_capture = v == BT_GATT_CCC_NOTIFY;
}
static void ccc_stream(const struct bt_gatt_attr *a, uint16_t v)
{
	ARG_UNUSED(a);
	notify_stream = v == BT_GATT_CCC_NOTIFY;
}
static void ccc_caprec(const struct bt_gatt_attr *a, uint16_t v)
{
	ARG_UNUSED(a);
	notify_caprec = v == BT_GATT_CCC_NOTIFY;
}

BT_GATT_SERVICE_DEFINE(sp_svc,
	BT_GATT_PRIMARY_SERVICE(&uuid_svc),
	/* [1] count */
	BT_GATT_CHARACTERISTIC(&uuid_count.uuid, BT_GATT_CHRC_READ | BT_GATT_CHRC_NOTIFY,
			       BT_GATT_PERM_READ_ENCRYPT, rd_blob, NULL, &v_count),
	BT_GATT_CCC(ccc_count, ENCRYPTED_CCC),
	/* [4] event */
	BT_GATT_CHARACTERISTIC(&uuid_event.uuid, BT_GATT_CHRC_NOTIFY, BT_GATT_PERM_NONE,
			       NULL, NULL, NULL),
	BT_GATT_CCC(ccc_event, ENCRYPTED_CCC),
	/* [7] control */
	BT_GATT_CHARACTERISTIC(&uuid_ctrl.uuid, BT_GATT_CHRC_WRITE, BT_GATT_PERM_WRITE_ENCRYPT, NULL,
			       wr_ctrl, NULL),
	/* [9] config */
	BT_GATT_CHARACTERISTIC(&uuid_cfg.uuid, BT_GATT_CHRC_READ | BT_GATT_CHRC_WRITE,
			       BT_GATT_PERM_READ_ENCRYPT | BT_GATT_PERM_WRITE_ENCRYPT, rd_blob, wr_cfg,
			       &v_cfg),
	/* [11] status */
	BT_GATT_CHARACTERISTIC(&uuid_status.uuid, BT_GATT_CHRC_READ | BT_GATT_CHRC_NOTIFY,
			       BT_GATT_PERM_READ_ENCRYPT, rd_blob, NULL, &v_status),
	BT_GATT_CCC(ccc_status, ENCRYPTED_CCC),
	BT_GATT_CHARACTERISTIC(&uuid_capture.uuid, BT_GATT_CHRC_NOTIFY, BT_GATT_PERM_NONE,
			       NULL, NULL, NULL),
	BT_GATT_CCC(ccc_capture, ENCRYPTED_CCC),
	BT_GATT_CHARACTERISTIC(&uuid_diag.uuid, BT_GATT_CHRC_READ, BT_GATT_PERM_READ_ENCRYPT,
			       rd_blob, NULL, &v_diag),
	BT_GATT_CHARACTERISTIC(&uuid_stream.uuid, BT_GATT_CHRC_NOTIFY, BT_GATT_PERM_NONE,
			       NULL, NULL, NULL),
	BT_GATT_CCC(ccc_stream, ENCRYPTED_CCC),
	BT_GATT_CHARACTERISTIC(&uuid_caprec.uuid, BT_GATT_CHRC_NOTIFY, BT_GATT_PERM_NONE,
			       NULL, NULL, NULL),
	BT_GATT_CCC(ccc_caprec, ENCRYPTED_CCC),
);

#define ATTR_COUNT (&sp_svc.attrs[1])
#define ATTR_EVENT (&sp_svc.attrs[4])
#define ATTR_STATUS (&sp_svc.attrs[11])
#define ATTR_CAPTURE (&sp_svc.attrs[14])
#define ATTR_STREAM (&sp_svc.attrs[19])
#define ATTR_CAPREC (&sp_svc.attrs[22])

enum { AD_FLAGS, AD_SERVICE, AD_PAIRING, AD_FIELDS };

static const struct bt_data ad[AD_FIELDS] = {
	[AD_FLAGS] = BT_DATA_BYTES(BT_DATA_FLAGS, (BT_LE_AD_GENERAL | BT_LE_AD_NO_BREDR)),
	[AD_SERVICE] = BT_DATA_BYTES(BT_DATA_UUID128_ALL, SP_UUID_SERVICE),
	[AD_PAIRING] = BT_DATA_BYTES(BT_DATA_MANUFACTURER_DATA,
				     BT_BYTES_LIST_LE16(SP_ADV_COMPANY_ID), SP_ADV_PAIRING_OPEN),
};

static bool pairing_open;

/* 500-525 ms advertising interval: ~20-26 uA average while advertising (Nordic profiler, unmeasured) */
static const struct bt_le_adv_param adv_param =
	BT_LE_ADV_PARAM_INIT(BT_LE_ADV_OPT_CONN, 0x0320, 0x0348, NULL);

static struct bt_gatt_exchange_params mtu_params;

static void mtu_cb(struct bt_conn *conn, uint8_t err, struct bt_gatt_exchange_params *p)
{
	ARG_UNUSED(p);
	LOG_INF("MTU %u (err %u)", bt_gatt_get_mtu(conn), err);
}

static void connected(struct bt_conn *conn, uint8_t err)
{
	if (err) {
		return;
	}
	advertising = false;
	cur_conn = bt_conn_ref(conn);
	atomic_clear(&notify_in_flight);
	mtu_params.func = mtu_cb;
	bt_gatt_exchange_mtu(conn, &mtu_params);
	on_conn(true);
}

static void disconnected(struct bt_conn *conn, uint8_t reason)
{
	ARG_UNUSED(reason);
	if (cur_conn == conn) {
		bt_conn_unref(cur_conn);
		cur_conn = NULL;
	}
	notify_count = notify_event = notify_status = notify_capture = notify_stream = notify_caprec = false;
	link_speed = LINK_UNSET;
	on_conn(false); /* main decides whether to re-advertise */
}

static void security_changed(struct bt_conn *conn, bt_security_t level, enum bt_security_err err)
{
	ARG_UNUSED(conn);
	if (err == BT_SECURITY_ERR_SUCCESS && level >= BT_SECURITY_L2) {
		atomic_set(&link_secured, 1);
	}
}

BT_CONN_CB_DEFINE(conn_cbs) = {
	.connected = connected,
	.disconnected = disconnected,
	.security_changed = security_changed,
};

bool ble_link_secured(void)
{
	return atomic_get(&link_secured) != 0;
}

int ble_init(ble_ctrl_cb_t ctrl, ble_cfg_cb_t cfg, ble_conn_cb_t conn)
{
	on_ctrl = ctrl;
	on_cfg = cfg;
	on_conn = conn;
	int err = bt_enable(NULL);

	if (err) {
		return err;
	}
	settings_load_subtree("bt");
	return identity_apply();
}

int ble_adv_start(void)
{
	if (advertising || cur_conn) {
		return 0;
	}
	const char *name = bt_get_name();
	struct bt_data sd[] = {
		BT_DATA(BT_DATA_NAME_COMPLETE, name, strlen(name)),
	};
	size_t ad_len = pairing_open ? AD_FIELDS : AD_PAIRING;
	int err = bt_le_adv_start(&adv_param, ad, ad_len, sd, ARRAY_SIZE(sd));
	if (!err || err == -EALREADY) {
		advertising = true;
		return 0;
	}
	LOG_WRN("adv start %d", err);
	return err;
}

void ble_adv_stop(void)
{
	if (advertising) {
		bt_le_adv_stop();
		advertising = false;
	}
}

void ble_adv_set_pairing(bool open)
{
	if (open == pairing_open) {
		return;
	}
	pairing_open = open;
	if (advertising) {
		ble_adv_stop();
		ble_adv_start();
	}
}

void ble_set_bulk(bool busy)
{
	uint32_t now = k_uptime_get_32();

	if (busy) {
		bulk_seen_ms = now;
	}
	bool want = busy || (link_speed == LINK_FAST && now - bulk_seen_ms < BULK_LINGER_MS);
	enum link_speed next = want ? LINK_FAST : LINK_SLOW;

	if (!cur_conn || next == link_speed) {
		return;
	}
	if (bt_conn_le_param_update(cur_conn, want ? &fast_param : &slow_param) == 0) {
		link_speed = next;
	}
}

bool ble_is_connected(void)
{
	return cur_conn != NULL;
}

bool ble_is_advertising(void)
{
	return advertising;
}

void ble_update_count(const sp_count_t *c)
{
	v_count = *c;
	if (cur_conn && notify_count) {
		bt_gatt_notify(cur_conn, ATTR_COUNT, &v_count, sizeof(v_count));
	}
}

void ble_update_status(const sp_status_t *s)
{
	bool changed = memcmp(&v_status, s, sizeof(*s)) != 0;
	v_status = *s;
	bt_bas_set_battery_level(s->battery_pct);
	if (changed && cur_conn && notify_status) {
		bt_gatt_notify(cur_conn, ATTR_STATUS, &v_status, sizeof(v_status));
	}
}

void ble_update_config(const sp_config_t *c)
{
	v_cfg = *c;
}

void ble_update_diag(const sp_diag_t *d)
{
	v_diag = *d;
}

void ble_set_tx_done_cb(ble_tx_done_cb_t cb)
{
	on_tx_done = cb;
}

static void paced_sent(struct bt_conn *conn, void *user_data)
{
	ARG_UNUSED(conn);
	ARG_UNUSED(user_data);
	if (atomic_get(&notify_in_flight) > 0) {
		atomic_dec(&notify_in_flight);
	}
	on_tx_done();
}

static uint16_t room_if(bool subscribed)
{
	if (!cur_conn || !subscribed) {
		return 0;
	}
	return (uint16_t)(bt_gatt_get_mtu(cur_conn) - ATT_NOTIFY_OVERHEAD);
}

uint16_t ble_capture_room(void)
{
	return room_if(notify_capture);
}

uint16_t ble_caprec_room(void)
{
	return room_if(notify_caprec);
}

uint16_t ble_event_room(void)
{
	return room_if(notify_event);
}

static int send_paced(struct bt_gatt_notify_params *params)
{
	if (atomic_get(&notify_in_flight) >= NOTIFY_MAX_IN_FLIGHT) {
		return -EAGAIN;
	}
	params->func = paced_sent;
	atomic_inc(&notify_in_flight);
	int err = bt_gatt_notify_cb(cur_conn, params);
	if (err) {
		atomic_dec(&notify_in_flight);
	}
	return err;
}

int ble_send_events(const uint8_t *data, uint16_t len)
{
	struct bt_gatt_notify_params params = {
		.attr = ATTR_EVENT,
		.data = data,
		.len = len,
	};

	if (!cur_conn || !notify_event) {
		return -ENOTCONN;
	}
	return send_paced(&params);
}

int ble_send_capture(const uint8_t *data, uint16_t len)
{
	struct bt_gatt_notify_params params = {
		.attr = ATTR_CAPTURE,
		.data = data,
		.len = len,
	};

	if (!cur_conn || !notify_capture) {
		return -ENOTCONN;
	}
	return send_paced(&params);
}

uint16_t ble_stream_room(void)
{
	return room_if(notify_stream);
}

int ble_send_stream(const uint8_t *data, uint16_t len)
{
	struct bt_gatt_notify_params params = {
		.attr = ATTR_STREAM,
		.data = data,
		.len = len,
	};

	if (!cur_conn || !notify_stream) {
		return -ENOTCONN;
	}
	return send_paced(&params);
}

int ble_send_caprec(const uint8_t *data, uint16_t len)
{
	struct bt_gatt_notify_params params = {
		.attr = ATTR_CAPREC,
		.data = data,
		.len = len,
	};

	if (!cur_conn || !notify_caprec) {
		return -ENOTCONN;
	}
	return send_paced(&params);
}
```
